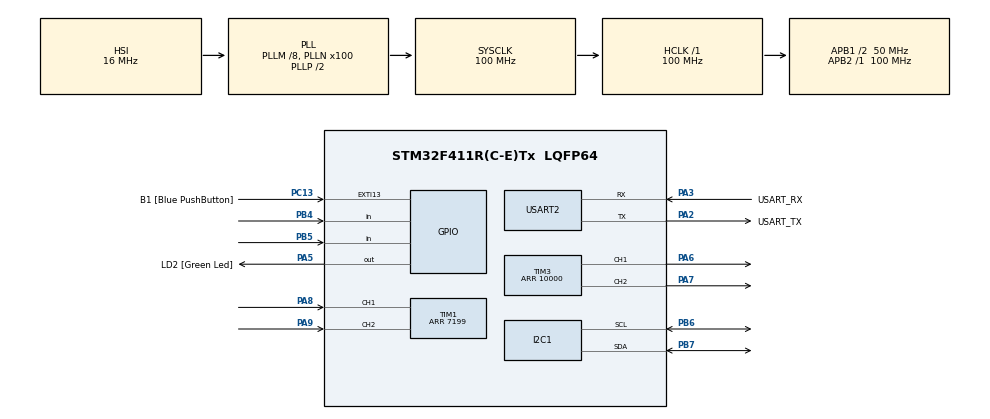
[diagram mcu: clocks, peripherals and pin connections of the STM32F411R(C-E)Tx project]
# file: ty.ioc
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Dma.Request0=USART2_RX
Dma.Request1=USART2_TX
Dma.USART2_RX.0.Direction=DMA_PERIPH_TO_MEMORY
Dma.USART2_RX.0.FIFOMode=DMA_FIFOMODE_DISABLE
Dma.USART2_RX.0.Instance=DMA1_Stream5
Dma.USART2_RX.0.MemDataAlignment=DMA_MDATAALIGN_BYTE
Dma.USART2_RX.0.MemInc=DMA_MINC_ENABLE
Dma.USART2_RX.0.Mode=DMA_CIRCULAR
Dma.USART2_RX.0.PeriphDataAlignment=DMA_PDATAALIGN_BYTE
Dma.USART2_RX.0.PeriphInc=DMA_PINC_DISABLE
Dma.USART2_RX.0.Priority=DMA_PRIORITY_LOW
Dma.USART2_TX.1.Direction=DMA_MEMORY_TO_PERIPH
Dma.USART2_TX.1.FIFOMode=DMA_FIFOMODE_DISABLE
Dma.USART2_TX.1.Instance=DMA1_Stream6
Dma.USART2_TX.1.MemDataAlignment=DMA_MDATAALIGN_BYTE
Dma.USART2_TX.1.MemInc=DMA_MINC_ENABLE
Dma.USART2_TX.1.Mode=DMA_NORMAL
Dma.USART2_TX.1.PeriphDataAlignment=DMA_PDATAALIGN_BYTE
Dma.USART2_TX.1.PeriphInc=DMA_PINC_DISABLE
Dma.USART2_TX.1.Priority=DMA_PRIORITY_LOW
I2C1.I2C_Mode=I2C_Fast
Mcu.Family=STM32F4
Mcu.Name=STM32F411R(C-E)Tx
Mcu.Package=LQFP64
NVIC.DMA1_Stream5_IRQn=true\:0\:0\:false\:false\:true\:false\:true
NVIC.DMA1_Stream6_IRQn=true\:0\:0\:false\:false\:true\:false\:true
NVIC.I2C1_ER_IRQn=true\:0\:0\:false\:false\:true\:true\:true
NVIC.I2C1_EV_IRQn=true\:0\:0\:false\:false\:true\:true\:true
NVIC.PriorityGroup=NVIC_PRIORITYGROUP_0
NVIC.TIM2_IRQn=true\:0\:0\:false\:false\:true\:true\:true
NVIC.TIM4_IRQn=true\:0\:0\:false\:false\:true\:true\:true
NVIC.USART2_IRQn=true\:0\:0\:false\:false\:true\:true\:true
PA13.GPIO_Label=TMS
PA13.Mode=Serial_Wire
PA13.Signal=SYS_JTMS-SWDIO
PA14.GPIO_Label=TCK
PA14.Mode=Serial_Wire
PA14.Signal=SYS_JTCK-SWCLK
PA2.GPIO_Label=USART_TX
PA2.Mode=Asynchronous
PA2.Signal=USART2_TX
PA3.GPIO_Label=USART_RX
PA3.Mode=Asynchronous
PA3.Signal=USART2_RX
PA5.GPIO_Label=LD2 [Green Led]
PA5.Signal=GPIO_Output
PA6.Signal=S_TIM3_CH1
PA7.Signal=S_TIM3_CH2
PA8.Signal=S_TIM1_CH1
PA9.Signal=S_TIM1_CH2
PB3.GPIO_Label=SWO
PB3.Signal=SYS_JTDO-SWO
PB4.Signal=GPIO_Input
PB5.Signal=GPIO_Input
PB6.GPIO_Pu=GPIO_PULLUP
PB6.Mode=I2C
PB6.Signal=I2C1_SCL
PB7.GPIO_Pu=GPIO_PULLUP
PB7.Mode=I2C
PB7.Signal=I2C1_SDA
PC13-ANTI_TAMP.GPIO_Label=B1 [Blue PushButton]
PC13-ANTI_TAMP.GPIO_ModeDefaultEXTI=GPIO_MODE_IT_FALLING
PC13-ANTI_TAMP.Signal=GPXTI13
PC14-OSC32_IN.Mode=LSE-External-Oscillator
PC14-OSC32_IN.Signal=RCC_OSC32_IN
PC15-OSC32_OUT.Mode=LSE-External-Oscillator
PC15-OSC32_OUT.Signal=RCC_OSC32_OUT
PH0\ -\ OSC_IN.Mode=HSE-External-Clock-Source
PH0\ -\ OSC_IN.Signal=RCC_OSC_IN
PH1\ -\ OSC_OUT.Mode=HSE-External-Clock-Source
PH1\ -\ OSC_OUT.Signal=RCC_OSC_OUT
ProjectManager.HeapSize=0x200
ProjectManager.StackSize=0x400
ProjectManager.TargetToolchain=STM32CubeIDE
RCC.48MHZClocksFreq_Value=50000000
RCC.AHBFreq_Value=100000000
RCC.APB1CLKDivider=RCC_HCLK_DIV2
RCC.APB1Freq_Value=50000000
RCC.APB1TimFreq_Value=100000000
RCC.APB2Freq_Value=100000000
RCC.APB2TimFreq_Value=100000000
RCC.CortexFreq_Value=100000000
RCC.FLatency-AdvancedSettings=FLASH_LATENCY_3
RCC.HCLKFreq_Value=100000000
RCC.HSE_VALUE=8000000
RCC.HSI_VALUE=16000000
RCC.PLLM=8
RCC.PLLN=100
RCC.SYSCLKFreq_VALUE=100000000
RCC.SYSCLKSource=RCC_SYSCLKSOURCE_PLLCLK
RCC.VCOOutputFreq_Value=200000000
SH.S_TIM1_CH1.0=TIM1_CH1,Encoder_Interface
SH.S_TIM1_CH2.0=TIM1_CH2,Encoder_Interface
SH.S_TIM3_CH1.0=TIM3_CH1,PWM Generation1 CH1
SH.S_TIM3_CH2.0=TIM3_CH2,PWM Generation2 CH2
TIM1.CounterMode=TIM_COUNTERMODE_UP
TIM1.EncoderMode=TIM_ENCODERMODE_TI12
TIM1.IC2Polarity=TIM_ICPOLARITY_FALLING
TIM1.Period=7199
TIM2.Prescaler=99
TIM3.Channel-PWM\ Generation1\ CH1=TIM_CHANNEL_1
TIM3.Channel-PWM\ Generation2\ CH2=TIM_CHANNEL_2
TIM3.Period=10000
TIM4.Period=10000
TIM4.Prescaler=99
USART2.VirtualMode=VM_ASYNC
VP_TIM2_VS_ClockSourceINT.Mode=Internal
VP_TIM4_VS_ClockSourceINT.Mode=Internal
board=NUCLEO-F411RE

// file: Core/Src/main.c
/* USER CODE BEGIN Header */
/**
  *****************************************************************************+*
  * @file           : main.c
  * @brief          : Main program body
  ******************************************************************************
  * @attention
  *
  * <h2><center>&copy; Copyright (c) 2021 STMicroelectronics.
  * All rights reserved.</center></h2>
  *
  * This software component is licensed by ST under BSD 3-Clause license,
  * the "License"; You may not use this file except in compliance with the
  * License. You may obtain a copy of the License at:
  *                        opensource.org/licenses/BSD-3-Clause
  *
  ******************************************************************************
  */
/* USER CODE END Header */
#include "main.h"

/* USER CODE BEGIN Includes */
#include "math.h"
/* USER CODE END Includes */

/* USER CODE BEGIN PD */
#define EndeffAddress (0x23<<1)
/* USER CODE END PD */

I2C_HandleTypeDef hi2c1;

TIM_HandleTypeDef htim1;
TIM_HandleTypeDef htim2;
TIM_HandleTypeDef htim3;
TIM_HandleTypeDef htim4;

UART_HandleTypeDef huart2;
DMA_HandleTypeDef hdma_usart2_rx;
DMA_HandleTypeDef hdma_usart2_tx;

/* USER CODE BEGIN PV */

uint8_t ButtonArray[2] 	= {1,1};  //[Now, Last] = {UP, UP}
uint64_t _micros 		= 0;
uint64_t Timestamp 		= 0;
uint64_t LEDTimeStamp 	= 0;
uint8_t ProxiArray[2]   = {1,1};
int   PWMOut 			= 0;
int32_t PWMOutABS        =0;

float RobotArm_Position = 0;
float RobotArm_Velocity = 0;
float Desired_Position 	= 0;
float Desired_Velocity 	= 0;
uint8_t RobotArmTrigger = 0;

float Error_Position  	= 0;
float Error_Position_Sum= 0;
float Error_Position_Div= 0;
float Error_Position_Old= 0;
float dt    = 0.001;
float K_P	= 1200;
float K_I	= 650;
float K_D	= 0;

//tee
float a=0.9;float w=0.103;
float rad=0;float raw=0;
float Q=0;float R=0;float theta_est=0;float omega_est=0;float dt1=0.01;float theta_pd=0;float y=0;float p11=0;
float p12=0;float p21=0;float p22=0;float omega_pd=0;float a0=0;float a1=0;float a2=0;float a3=0;float a4=0;float a5=0;
float sb=0;float sa=0;float tf=0;float vb=0;float sbf=0;float t=0;float Vmax=0;float vcon =0;
float p=0;
float i=0;
float d=0;
float pre_error=0;float error=0;
uint8_t push=0;float n=0;float angle=0;float kalman_theta=0;float rb_pos=0;float float_encode=0;uint8_t flag_case1=0;uint8_t flag_case2=0;uint8_t flag_case3=0;
uint8_t flag_case4=0;uint8_t flag_case5=0;uint8_t flag_case6=0;
float get_station=0;float get_position=0;float now_postion=0;
typedef enum
{
	Set_Home,
	UART_Commu,
	Traj_Plan,
	Arm_Move,
	I2C_Endeff
}Transition_State;

uint8_t LaserOpenTrigger = 0;
uint8_t LaserOpenCommand = 0x45;
uint8_t LaserReadCommand = 0x23;
uint8_t LaserStatus = 0x78;

/* USER CODE END PV */

void SystemClock_Config(void);
static void MX_GPIO_Init(void);
static void MX_DMA_Init(void);
static void MX_USART2_UART_Init(void);
static void MX_I2C1_Init(void);
static void MX_TIM1_Init(void);
static void MX_TIM3_Init(void);
static void MX_TIM2_Init(void);
static void MX_TIM4_Init(void);
/* USER CODE BEGIN PFP */

void NucleoCheck();
uint64_t micros();
void MicroCheck();
void ProxiCheck();
void MotorDrive();
void SetHome();
uint32_t EncoderPosition_Update();
void Control();
void I2C_Laser();
void I2C_Check();
float EncoderVelocity_Update();
void pid();
void kalmanfilter();
void planning();
void togo();
/* USER CODE END PFP */

int main(void)
{

  /* MCU Configuration--------------------------------------------------------*/

  /* Reset of all peripherals, Initializes the Flash interface and the Systick. */
  HAL_Init();

  /* Configure the system clock */
  SystemClock_Config();

  /* Initialize all configured peripherals */
  MX_GPIO_Init();
  MX_DMA_Init();
  MX_USART2_UART_Init();
  MX_I2C1_Init();
  MX_TIM1_Init();
  MX_TIM3_Init();
  MX_TIM2_Init();
  MX_TIM4_Init();
  /* USER CODE BEGIN 2 */

  HAL_TIM_Base_Start_IT(&htim2);
  HAL_TIM_Base_Start(&htim3);
  HAL_TIM_PWM_Start(&htim3, TIM_CHANNEL_1);
  HAL_TIM_PWM_Start(&htim3, TIM_CHANNEL_2);

  PWMOut = 0;
  MotorDrive();
  HAL_Delay(100);

  /* USER CODE END 2 */

  /* Infinite loop */
  /* USER CODE BEGIN WHILE */
  /////////////////////////////////////////////////////////////////////////////////////
  while (1)
  {

	  if(push==1)
	  		{
		  push=0;
	  		HAL_TIM_Base_Start_IT(&htim4);
	  		}

	  if (micros() - Timestamp >= 1000) //1000us = 0.001s = 1kHz
	  {
		  Timestamp = micros();
		  HAL_GPIO_TogglePin(LD2_GPIO_Port, LD2_Pin);
		  NucleoCheck();
		  MicroCheck();
		  ProxiCheck();
		  I2C_Check();

		  RobotArm_Position = EncoderPosition_Update();
		  rb_pos = (float)(RobotArm_Position*360.00/7200.00);

		  static Transition_State State = Set_Home;

		  switch(State)
		  {
		  	  case Set_Home:
		  		  PWMOut = 2000;
		  		  MotorDrive();
		  		  HAL_Delay(2000);
		  		  SetHome();
		  		  State = UART_Commu;
		  		  break;

		  	  case UART_Commu:
//		  		  if(Desired_Position != RobotArm_Position && RobotArmTrigger != 0)
//		  		  {
//		  			  State = Traj_Plan;
//		  		  }
		  		  break;

		  	  case Traj_Plan:
		  		  State = Arm_Move;
		  		  break;

		  	  case Arm_Move:
		  		  if(Desired_Position == RobotArm_Position)
		  		  {
		  			  __HAL_TIM_SET_COMPARE(&htim3, TIM_CHANNEL_1, 10000);
		  			  __HAL_TIM_SET_COMPARE(&htim3, TIM_CHANNEL_2, 10000);
		  			  HAL_Delay(500);

		  			  PWMOut = 0;
		  			  MotorDrive();
		  			  HAL_Delay(500);

		  			  RobotArmTrigger = 0;

		  			  Error_Position  	= 0;
		  			  Error_Position_Sum= 0;
		  			  Error_Position_Div= 0;
		  			  Error_Position_Old= 0;

		  			  State = I2C_Endeff;
		  		  }
		  		  else
		  		  {
		  			  Control();
		  			  MotorDrive();
		  		  }
		  		  break;

		  	  case I2C_Endeff:
		  		  I2C_Laser();
		  		  State = UART_Commu;
		  		  break;
		  	  default:
		  		  break;
			}
	  }

/////////////////////////////////////////////////////////////////////////////////////
    /* USER CODE END WHILE */

  }
}

void SystemClock_Config(void)
{
  RCC_OscInitTypeDef RCC_OscInitStruct = {0};
  RCC_ClkInitTypeDef RCC_ClkInitStruct = {0};

  /** Configure the main internal regulator output voltage
  */
  __HAL_RCC_PWR_CLK_ENABLE();
  __HAL_PWR_VOLTAGESCALING_CONFIG(PWR_REGULATOR_VOLTAGE_SCALE1);
  /** Initializes the RCC Oscillators according to the specified parameters
  * in the RCC_OscInitTypeDef structure.
  */
  RCC_OscInitStruct.OscillatorType = RCC_OSCILLATORTYPE_HSI;
  RCC_OscInitStruct.HSIState = RCC_HSI_ON;
  RCC_OscInitStruct.HSICalibrationValue = RCC_HSICALIBRATION_DEFAULT;
  RCC_OscInitStruct.PLL.PLLState = RCC_PLL_ON;
  RCC_OscInitStruct.PLL.PLLSource = RCC_PLLSOURCE_HSI;
  RCC_OscInitStruct.PLL.PLLM = 8;
  RCC_OscInitStruct.PLL.PLLN = 100;
  RCC_OscInitStruct.PLL.PLLP = RCC_PLLP_DIV2;
  RCC_OscInitStruct.PLL.PLLQ = 4;
  if (HAL_RCC_OscConfig(&RCC_OscInitStruct) != HAL_OK)
  {
    Error_Handler();
  }
  /** Initializes the CPU, AHB and APB buses clocks
  */
  RCC_ClkInitStruct.ClockType = RCC_CLOCKTYPE_HCLK|RCC_CLOCKTYPE_SYSCLK
                              |RCC_CLOCKTYPE_PCLK1|RCC_CLOCKTYPE_PCLK2;
  RCC_ClkInitStruct.SYSCLKSource = RCC_SYSCLKSOURCE_PLLCLK;
  RCC_ClkInitStruct.AHBCLKDivider = RCC_SYSCLK_DIV1;
  RCC_ClkInitStruct.APB1CLKDivider = RCC_HCLK_DIV2;
  RCC_ClkInitStruct.APB2CLKDivider = RCC_HCLK_DIV1;

  if (HAL_RCC_ClockConfig(&RCC_ClkInitStruct, FLASH_LATENCY_3) != HAL_OK)
  {
    Error_Handler();
  }
}

static void MX_I2C1_Init(void)
{

  hi2c1.Instance = I2C1;
  hi2c1.Init.ClockSpeed = 400000;
  hi2c1.Init.DutyCycle = I2C_DUTYCYCLE_2;
  hi2c1.Init.OwnAddress1 = 0;
  hi2c1.Init.AddressingMode = I2C_ADDRESSINGMODE_7BIT;
  hi2c1.Init.DualAddressMode = I2C_DUALADDRESS_DISABLE;
  hi2c1.Init.OwnAddress2 = 0;
  hi2c1.Init.GeneralCallMode = I2C_GENERALCALL_DISABLE;
  hi2c1.Init.NoStretchMode = I2C_NOSTRETCH_DISABLE;
  if (HAL_I2C_Init(&hi2c1) != HAL_OK)
  {
    Error_Handler();
  }

}

static void MX_TIM1_Init(void)
{

  TIM_Encoder_InitTypeDef sConfig = {0};
  TIM_MasterConfigTypeDef sMasterConfig = {0};

  htim1.Instance = TIM1;
  htim1.Init.Prescaler = 0;
  htim1.Init.CounterMode = TIM_COUNTERMODE_UP;
  htim1.Init.Period = 7199;
  htim1.Init.ClockDivision = TIM_CLOCKDIVISION_DIV1;
  htim1.Init.RepetitionCounter = 0;
  htim1.Init.AutoReloadPreload = TIM_AUTORELOAD_PRELOAD_DISABLE;
  sConfig.EncoderMode = TIM_ENCODERMODE_TI12;
  sConfig.IC1Polarity = TIM_ICPOLARITY_RISING;
  sConfig.IC1Selection = TIM_ICSELECTION_DIRECTTI;
  sConfig.IC1Prescaler = TIM_ICPSC_DIV1;
  sConfig.IC1Filter = 0;
  sConfig.IC2Polarity = TIM_ICPOLARITY_FALLING;
  sConfig.IC2Selection = TIM_ICSELECTION_DIRECTTI;
  sConfig.IC2Prescaler = TIM_ICPSC_DIV1;
  sConfig.IC2Filter = 0;
  if (HAL_TIM_Encoder_Init(&htim1, &sConfig) != HAL_OK)
  {
    Error_Handler();
  }
  sMasterConfig.MasterOutputTrigger = TIM_TRGO_RESET;
  sMasterConfig.MasterSlaveMode = TIM_MASTERSLAVEMODE_DISABLE;
  if (HAL_TIMEx_MasterConfigSynchronization(&htim1, &sMasterConfig) != HAL_OK)
  {
    Error_Handler();
  }

}

static void MX_TIM2_Init(void)
{

  TIM_ClockConfigTypeDef sClockSourceConfig = {0};
  TIM_MasterConfigTypeDef sMasterConfig = {0};

  htim2.Instance = TIM2;
  htim2.Init.Prescaler = 99;
  htim2.Init.CounterMode = TIM_COUNTERMODE_UP;
  htim2.Init.Period = 4294967295;
  htim2.Init.ClockDivision = TIM_CLOCKDIVISION_DIV1;
  htim2.Init.AutoReloadPreload = TIM_AUTORELOAD_PRELOAD_DISABLE;
  if (HAL_TIM_Base_Init(&htim2) != HAL_OK)
  {
    Error_Handler();
  }
  sClockSourceConfig.ClockSource = TIM_CLOCKSOURCE_INTERNAL;
  if (HAL_TIM_ConfigClockSource(&htim2, &sClockSourceConfig) != HAL_OK)
  {
    Error_Handler();
  }
  sMasterConfig.MasterOutputTrigger = TIM_TRGO_RESET;
  sMasterConfig.MasterSlaveMode = TIM_MASTERSLAVEMODE_DISABLE;
  if (HAL_TIMEx_MasterConfigSynchronization(&htim2, &sMasterConfig) != HAL_OK)
  {
    Error_Handler();
  }

}

static void MX_TIM3_Init(void)
{

  TIM_MasterConfigTypeDef sMasterConfig = {0};
  TIM_OC_InitTypeDef sConfigOC = {0};

  htim3.Instance = TIM3;
  htim3.Init.Prescaler = 0;
  htim3.Init.CounterMode = TIM_COUNTERMODE_UP;
  htim3.Init.Period = 10000;
  htim3.Init.ClockDivision = TIM_CLOCKDIVISION_DIV1;
  htim3.Init.AutoReloadPreload = TIM_AUTORELOAD_PRELOAD_DISABLE;
  if (HAL_TIM_PWM_Init(&htim3) != HAL_OK)
  {
    Error_Handler();
  }
  sMasterConfig.MasterOutputTrigger = TIM_TRGO_RESET;
  sMasterConfig.MasterSlaveMode = TIM_MASTERSLAVEMODE_DISABLE;
  if (HAL_TIMEx_MasterConfigSynchronization(&htim3, &sMasterConfig) != HAL_OK)
  {
    Error_Handler();
  }
  sConfigOC.OCMode = TIM_OCMODE_PWM1;
  sConfigOC.Pulse = 0;
  sConfigOC.OCPolarity = TIM_OCPOLARITY_HIGH;
  sConfigOC.OCFastMode = TIM_OCFAST_DISABLE;
  if (HAL_TIM_PWM_ConfigChannel(&htim3, &sConfigOC, TIM_CHANNEL_1) != HAL_OK)
  {
    Error_Handler();
  }
  if (HAL_TIM_PWM_ConfigChannel(&htim3, &sConfigOC, TIM_CHANNEL_2) != HAL_OK)
  {
    Error_Handler();
  }
  HAL_TIM_MspPostInit(&htim3);

}

static void MX_TIM4_Init(void)
{

  TIM_ClockConfigTypeDef sClockSourceConfig = {0};
  TIM_MasterConfigTypeDef sMasterConfig = {0};

  htim4.Instance = TIM4;
  htim4.Init.Prescaler = 99;
  htim4.Init.CounterMode = TIM_COUNTERMODE_UP;
  htim4.Init.Period = 10000;
  htim4.Init.ClockDivision = TIM_CLOCKDIVISION_DIV1;
  htim4.Init.AutoReloadPreload = TIM_AUTORELOAD_PRELOAD_DISABLE;
  if (HAL_TIM_Base_Init(&htim4) != HAL_OK)
  {
    Error_Handler();
  }
  sClockSourceConfig.ClockSource = TIM_CLOCKSOURCE_INTERNAL;
  if (HAL_TIM_ConfigClockSource(&htim4, &sClockSourceConfig) != HAL_OK)
  {
    Error_Handler();
  }
  sMasterConfig.MasterOutputTrigger = TIM_TRGO_RESET;
  sMasterConfig.MasterSlaveMode = TIM_MASTERSLAVEMODE_DISABLE;
  if (HAL_TIMEx_MasterConfigSynchronization(&htim4, &sMasterConfig) != HAL_OK)
  {
    Error_Handler();
  }

}

static void MX_USART2_UART_Init(void)
{

  huart2.Instance = USART2;
  huart2.Init.BaudRate = 115200;
  huart2.Init.WordLength = UART_WORDLENGTH_8B;
  huart2.Init.StopBits = UART_STOPBITS_1;
  huart2.Init.Parity = UART_PARITY_NONE;
  huart2.Init.Mode = UART_MODE_TX_RX;
  huart2.Init.HwFlowCtl = UART_HWCONTROL_NONE;
  huart2.Init.OverSampling = UART_OVERSAMPLING_16;
  if (HAL_UART_Init(&huart2) != HAL_OK)
  {
    Error_Handler();
  }

}

static void MX_DMA_Init(void)
{

  /* DMA controller clock enable */
  __HAL_RCC_DMA1_CLK_ENABLE();

  /* DMA interrupt init */
  /* DMA1_Stream5_IRQn interrupt configuration */
  HAL_NVIC_SetPriority(DMA1_Stream5_IRQn, 0, 0);
  HAL_NVIC_EnableIRQ(DMA1_Stream5_IRQn);
  /* DMA1_Stream6_IRQn interrupt configuration */
  HAL_NVIC_SetPriority(DMA1_Stream6_IRQn, 0, 0);
  HAL_NVIC_EnableIRQ(DMA1_Stream6_IRQn);

}

static void MX_GPIO_Init(void)
{
  GPIO_InitTypeDef GPIO_InitStruct = {0};

  /* GPIO Ports Clock Enable */
  __HAL_RCC_GPIOC_CLK_ENABLE();
  __HAL_RCC_GPIOH_CLK_ENABLE();
  __HAL_RCC_GPIOA_CLK_ENABLE();
  __HAL_RCC_GPIOB_CLK_ENABLE();

  /*Configure GPIO pin Output Level */
  HAL_GPIO_WritePin(LD2_GPIO_Port, LD2_Pin, GPIO_PIN_RESET);

  /*Configure GPIO pin : B1_Pin */
  GPIO_InitStruct.Pin = B1_Pin;
  GPIO_InitStruct.Mode = GPIO_MODE_IT_FALLING;
  GPIO_InitStruct.Pull = GPIO_NOPULL;
  HAL_GPIO_Init(B1_GPIO_Port, &GPIO_InitStruct);

  /*Configure GPIO pin : LD2_Pin */
  GPIO_InitStruct.Pin = LD2_Pin;
  GPIO_InitStruct.Mode = GPIO_MODE_OUTPUT_PP;
  GPIO_InitStruct.Pull = GPIO_NOPULL;
  GPIO_InitStruct.Speed = GPIO_SPEED_FREQ_LOW;
  HAL_GPIO_Init(LD2_GPIO_Port, &GPIO_InitStruct);

  /*Configure GPIO pins : PB4 PB5 */
  GPIO_InitStruct.Pin = GPIO_PIN_4|GPIO_PIN_5;
  GPIO_InitStruct.Mode = GPIO_MODE_INPUT;
  GPIO_InitStruct.Pull = GPIO_NOPULL;
  HAL_GPIO_Init(GPIOB, &GPIO_InitStruct);

}

/* USER CODE BEGIN 4 */
//********************************************************************************

void NucleoCheck()
{

	ButtonArray[1] = ButtonArray[0];
	ButtonArray[0] = HAL_GPIO_ReadPin(B1_GPIO_Port, B1_Pin);

	if(ButtonArray[0]==1 && ButtonArray[1]==0) //When Released Button
	{
		HAL_GPIO_TogglePin(LD2_GPIO_Port, LD2_Pin);
	}
}
#define  HTIM_ENCODER htim1
#define  MAX_SUBPOSITION_OVERFLOW 3600
#define  MAX_ENCODER_PERIOD 7200

uint32_t EncoderPosition_Update()
{
	return HTIM_ENCODER.Instance->CNT;
}
float EncoderVelocity_Update()
{   static uint32_t EncoderLastPosition = 0;
	static uint64_t EncoderLastTimestamp = 0;
	uint32_t EncoderNowPosition = HTIM_ENCODER.Instance->CNT;
	uint64_t EncoderNowTimestamp = micros();
	int32_t EncoderPositionDiff;
	uint64_t EncoderTimeDiff;
	EncoderTimeDiff = EncoderNowTimestamp - EncoderLastTimestamp;
	EncoderPositionDiff = EncoderNowPosition - EncoderLastPosition;
	if (EncoderPositionDiff >= MAX_SUBPOSITION_OVERFLOW)
	{EncoderPositionDiff -= MAX_ENCODER_PERIOD;}
	else if (-EncoderPositionDiff >= MAX_SUBPOSITION_OVERFLOW)
	{EncoderPositionDiff += MAX_ENCODER_PERIOD;}
	EncoderLastPosition = EncoderNowPosition;
	EncoderLastTimestamp = EncoderNowTimestamp;
	raw =(float)(EncoderPositionDiff * 1000000.00) / (float) EncoderTimeDiff;
	rad = raw* 0.05*2.00*3.141592/360.00;
	return  rad;
}

void kalmanfilter()
{    Q = pow(a,2);
	 R = pow(w,2);
	 theta_est = theta_pd + omega_pd*dt1;
	 omega_est = omega_pd;
	 y = (rad-omega_est);

    p11 = p11 + dt1*p21+ (Q*pow(dt1,4))/4 + (pow(dt1,2))*(p12+dt1*p22)/dt1;
    p12 = p12 + dt1*p22 + (Q*dt1*pow(dt1,2))/2;
    p21 = (2*dt1*p21+Q*pow(dt1,4) + 2*p22*pow(dt1,2))/(2*dt1);
    p22 = Q*pow(dt1,2)+p22;

    theta_est+= (p12*y)/(R+p22);
    omega_est+= (p22*y)/(R+p22);

    p11=p11-(p12*p21)/(R+p22);
    p12=p12-(p22*p21)/(R+p22);
    p21=-p21*(p22/(R+p22)-1);
    p22=-p22*(p22/(R+p22)-1);

    theta_pd=theta_est;
    omega_pd=omega_est;

    kalman_theta=(float)(theta_est*57.2958);
}
void togo()
{ //use for calculate station A->B
  sb = get_position;  //rad
  sa = now_postion;   //rad
}

void planning()

{ t=t+0.01;
  Vmax = 0.400;               //rad/s
  sb=angle*0.0174533;            //degree 2 rad
//  sa=45*0.0174533;			//sa = last angle from Home
  sa=0;
  tf = 15.00*(sb-sa)/(8.00*Vmax);     //get tf from vmax

  if (angle<=12)
  {flag_case1=1;flag_case2=0;flag_case3=0;flag_case4=0;flag_case5=0;}

  if (angle>12 && angle<=30)
  { flag_case3=1;flag_case1=0;flag_case2=0;flag_case4=0;flag_case5=0;}

  if (angle>30 && angle<=60)
  {flag_case1=0;flag_case2=0;flag_case3=0;flag_case4=1;flag_case5=0;}

  if (angle>60 && angle<=90)
   {flag_case1=0;flag_case2=0;flag_case3=0;flag_case4=0;flag_case5=1;}

  if (angle>90){
	  flag_case1=0;flag_case3=0;
	  flag_case2=1;
	  if(0.5>=(5.7335*(sb-sa)/(pow(tf,2))))  //check accerelation
	  {tf=tf;}
	  else{tf=pow((5.7335*(sb-sa)/0.5),0.5);}
	  a0=0;
	  a1=0;
	  a2=0;
	  a3= 10.00*(sb-sa)/(pow(tf,3));
	  a4= -15.00*(sb-sa)/(pow(tf,4));
	  a5= 6.00*(sb-sa)/(pow(tf,5));
	  if(t<=tf){
	  sbf =  a3*pow(t,3)+a4*pow(t,4)+a5*pow(t,5);
	  vb= (float)((3*a3*pow(t,2))+(4*a4*pow(t,3))+(5*a5*pow(t,4)));}
	  else{t=tf;vb=0;PWMOut=0;}
  }
}

void pid()
{
	if  (flag_case2==1){
		 error = vb-omega_est;
		 p = (error);
		 i = i+error;
		 d = error - pre_error;
		 pre_error = error;
		 PWMOut =195+( (p*K_P)+(i*K_I)+(d*K_D));
		 if(vb==0)
		 {PWMOut=0;}
	}

	else if (flag_case1==1)
	{
		if((RobotArm_Position) < (float)(angle/0.05))
		{
			PWMOut=400;
		}
		else if((RobotArm_Position) > (float)(angle/0.05))
				{
					PWMOut=-400;
				}
		else if((RobotArm_Position) == (float)(angle/0.05))
		{
			PWMOut=0;
		}
	}
	else if (flag_case3==1)
		{
			if((RobotArm_Position) < (float)(angle/0.05))
			{
				PWMOut=1000;
			}
			else if((RobotArm_Position) > (float)(angle/0.05))
					{
						PWMOut=-400;
					}
			else if((RobotArm_Position) == (float)(angle/0.05))
			{
				PWMOut=0;
			}
		}
	else if (flag_case4==1)
			{
				if((RobotArm_Position) < (float)(angle/0.05))
				{
					PWMOut=1500;
				}
				else if((RobotArm_Position) > (float)(angle/0.05))
						{
							PWMOut=-300;
						}
				else if((RobotArm_Position) == (float)(angle/0.05))
				{
					PWMOut=0;
				}
			}
	else if (flag_case5==1)
			{
				if((RobotArm_Position) < (float)(angle/0.05))
				{
					PWMOut=1600;
				}
				else if((RobotArm_Position) > (float)(angle/0.05))
						{
							PWMOut=-300;
						}
				else if((RobotArm_Position) == (float)(angle/0.05))
				{
					PWMOut=0;
				}
			}
}

void HAL_TIM_PeriodElapsedCallback(TIM_HandleTypeDef *htim)
{
	if (htim == &htim2)
	{
		_micros += 4294967295;
	}
	if (htim==&htim4)
		{
		  EncoderVelocity_Update();
		  //togo();
		  planning();
		  kalmanfilter();
		  pid();
		  MotorDrive();
		}
}

uint64_t micros()
{
	return _micros + htim2.Instance->CNT;
}

void MicroCheck()
{
	if (micros() - LEDTimeStamp >= 1000000) //1000000us = 1s = 1Hz for Half
	{
		LEDTimeStamp = micros();
		HAL_GPIO_TogglePin(LD2_GPIO_Port, LD2_Pin);
	}
}

void ProxiCheck()
{
	ProxiArray[0] = HAL_GPIO_ReadPin(GPIOB, GPIO_PIN_5);
	ProxiArray[1] = HAL_GPIO_ReadPin(GPIOB, GPIO_PIN_4);
}

void MotorDrive()
{
	if(PWMOut >= 0)
	{
		__HAL_TIM_SET_COMPARE(&htim3, TIM_CHANNEL_1, PWMOut);
		__HAL_TIM_SET_COMPARE(&htim3, TIM_CHANNEL_2, 0);
	}
	else
	{
		__HAL_TIM_SET_COMPARE(&htim3, TIM_CHANNEL_1, 0);
		__HAL_TIM_SET_COMPARE(&htim3, TIM_CHANNEL_2, -PWMOut);
	}
}

void SetHome()
{
	PWMOut = -2500;
	while(HAL_GPIO_ReadPin(GPIOB, GPIO_PIN_4) == 1)
	{
		MotorDrive();
	}

	PWMOut = -850;
	while(HAL_GPIO_ReadPin(GPIOB, GPIO_PIN_5) == 1)
	{
		MotorDrive();
	}

	MotorDrive();
	HAL_Delay(200);

	PWMOut = 0;
	MotorDrive();
	HAL_Delay(500);

	HAL_TIM_Encoder_Start(&htim1, TIM_CHANNEL_ALL);
}

void Control()
{
	Error_Position = Desired_Position - RobotArm_Position;
	Error_Position_Sum += (Error_Position * dt);
	Error_Position_Div = (Error_Position - Error_Position_Old) / dt;

	PWMOut = (K_P * Error_Position) + (K_I * Error_Position_Sum) + (K_D * Error_Position_Div);

	Error_Position_Old = Error_Position;
}

void I2C_Laser()
{
	HAL_I2C_Master_Transmit(&hi2c1, EndeffAddress, &LaserOpenCommand, 1, 500);
	for (int j=0; j<11; j++)
	{
		HAL_I2C_Master_Transmit(&hi2c1, EndeffAddress, &LaserReadCommand, 1, 500);
		HAL_I2C_Master_Receive(&hi2c1, EndeffAddress, &LaserStatus, 1, 500);
		HAL_Delay(500);
	}
}

void I2C_Check()
{
	if(LaserOpenTrigger == 1)
	{
		I2C_Laser();
		LaserOpenTrigger = 0;
	}
}

//********************************************************************************
/* USER CODE END 4 */

void Error_Handler(void)
{
  __disable_irq();
  while (1)
  {
  }
}
